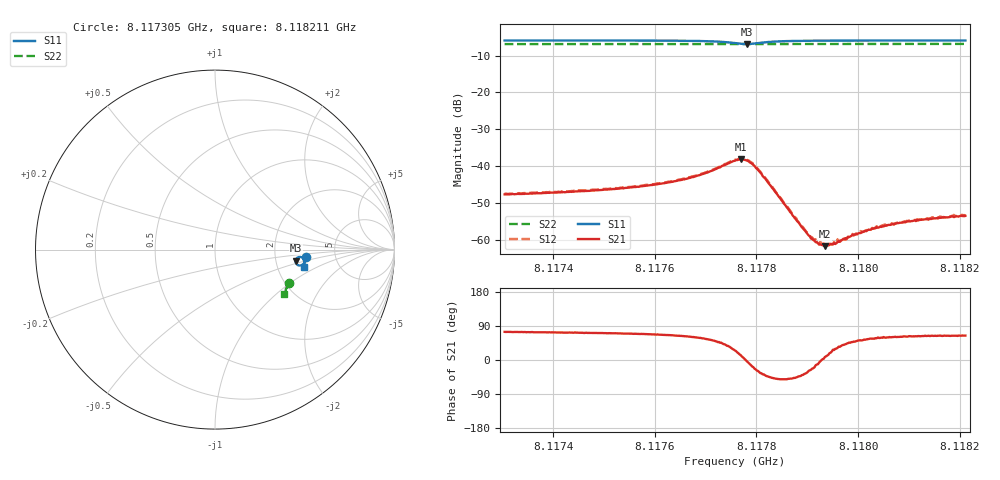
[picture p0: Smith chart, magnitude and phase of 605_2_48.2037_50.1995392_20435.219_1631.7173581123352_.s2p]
#  HZ  S  RI  R  50.00
! Rohde & Schwarz Vector Network Analyzer
! Rohde-Schwarz,ZNB20-2Port,1311601062101988,3.16
! Created: UTC 3/20/2024, 12:03:10 PM
! freq[Hz]  re:S11  im:S11  re:S21  im:S21  re:S12  im:S12  re:S22  im:S22
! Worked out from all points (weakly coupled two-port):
!   401 points, 8.117305 GHz to 8.118211 GHz, reference 50 ohm
!   highest |S21| = -38.16 dB at 8.117769 GHz (marker M1); lowest = -61.7 dB at 8.117935 GHz (marker M2)
!   lowest |S11| = -6.9 dB at 8.117781 GHz (marker M3), VSWR 2.66, Z = 129 - j19.9 ohm
!   |S11| at or under -10 dB: nowhere
!   |S22| runs from -6.9 to -6.8 dB; largest |S21 - S12| = 0.0004
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8.1173048e9  0.5052 -0.0387  0.00112 0.004  0.00122 0.00403  0.4112 -0.1886
8.1174566e9  0.5033 -0.0522  0.00142 0.00435  0.0015 0.00442  0.4068 -0.1985
8.1175246e9  0.502 -0.0587  0.00165 0.00464  0.00172 0.00475  0.4048 -0.2028
8.1176084e9  0.4993 -0.0682  0.00226 0.00528  0.00233 0.00536  0.4024 -0.2083
8.1176809e9  0.4928 -0.0794  0.00371 0.00631  0.00381 0.00639  0.3998 -0.213
8.1177081e9  0.487 -0.0847  0.00502 0.00681  0.00512 0.0069  0.3985 -0.2149
8.117758e9  0.4588 -0.0843  0.0108 0.00503  0.0111 0.00519  0.3959 -0.2175
8.1177693e9  0.451 -0.075  0.0121 0.00272  0.0124 0.0026  0.3953 -0.2176
8.1177806e9  0.449 -0.0612  0.012 -0.000495  0.0124 -0.00056  0.3952 -0.2176
8.1177942e9  0.4568 -0.0468  0.00984 -0.00341  0.00991 -0.00365  0.3952 -0.2179
8.1178078e9  0.4694 -0.0408  0.00675 -0.00465  0.00703 -0.00466  0.3956 -0.2184
8.1178849e9  0.4971 -0.0582  0.00121 -0.00113  0.00121 -0.00117  0.3941 -0.2243
8.1179098e9  0.4985 -0.0633  0.000962 -0.000403  0.000981 -0.000456  0.3933 -0.2261
8.1179211e9  0.499 -0.0652  0.000884 -0.000177  0.000929 -0.000126  0.3931 -0.2267
8.1179347e9  0.4992 -0.0672  0.000816 0.000113  0.000881 0.000116  0.3926 -0.2277
8.1179528e9  0.4995 -0.0699  0.000811 0.000404  0.000826 0.000437  0.3919 -0.2289
8.1179846e9  0.4994 -0.0741  0.000779 0.000793  0.000816 0.000778  0.3909 -0.2308
8.1180049e9  0.4993 -0.0764  0.000761 0.000975  0.000823 0.00103  0.3902 -0.2321
8.1180389e9  0.4991 -0.0801  0.000746 0.00126  0.00079 0.00127  0.3891 -0.2344
8.1180616e9  0.4987 -0.0824  0.000785 0.00139  0.000823 0.00139  0.3883 -0.2358
8.1181114e9  0.4983 -0.0872  0.000854 0.00164  0.000864 0.00165  0.3867 -0.2387
8.1182111e9  0.4968 -0.0958  0.000912 0.00191  0.000931 0.00194  0.3831 -0.2449
